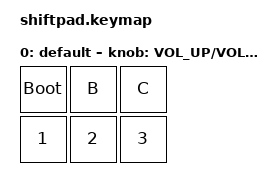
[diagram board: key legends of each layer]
/*
 * Copyright (c) 2020 The ZMK Contributors
 *
 * SPDX-License-Identifier: MIT
 */

#include <behaviors.dtsi>
#include <dt-bindings/zmk/keys.h>

/ {
    keymap {
        compatible = "zmk,keymap";

        default_layer {
            display-name = "default";
            bindings = <
                &bootloader &kp B  &kp C
                &kp N1      &kp N2 &kp N3
            >;

            sensor-bindings = <&inc_dec_kp C_VOL_UP C_VOL_DN>;
        };
    };
};
